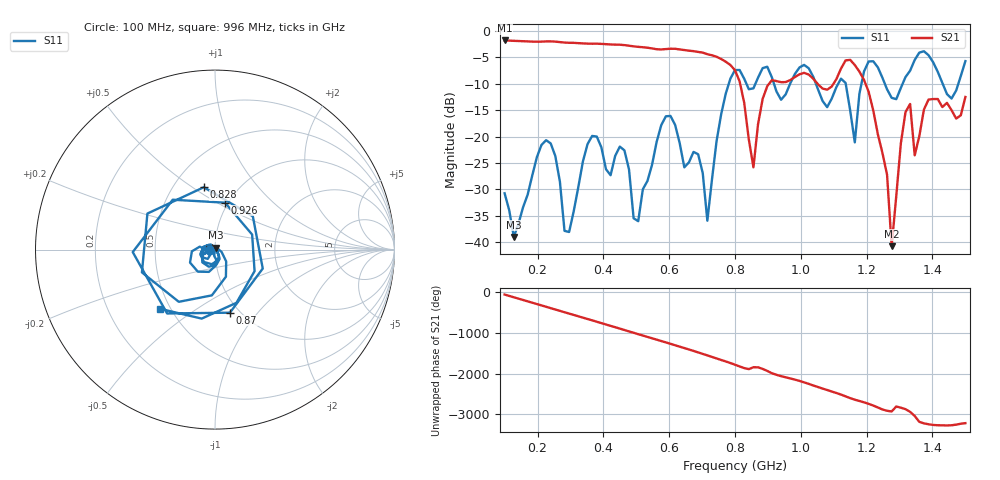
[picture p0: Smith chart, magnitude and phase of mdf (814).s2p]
! NanoVNA-App
! Date: 2025-09-25 15:44:45
! Start: 100MHz Stop: 1,5GHz Points: 101
! S-Parameter data: F S11 S21 S12 S22
# Hz S RI R 50
!  Frequency  S11_Real  S11_Imag  S21_Real  S21_Imag  S12_Real  S12_Imag  S22_Real  S22_Imag
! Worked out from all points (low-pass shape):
!   101 points, 100 MHz to 1.5 GHz, reference 50 ohm
!   highest |S21| = -1.80 dB at 100 MHz (marker M1); lowest = -40.7 dB at 1.276 GHz (marker M2)
!   |S21| within 3 dB of the highest: start of sweep to 739.5 MHz
!   lowest |S11| = -39.0 dB at 128 MHz (marker M3), VSWR 1.02, Z = 50.3 + j1.08 ohm
!   |S11| at or under -10 dB: start of sweep to 781.1 MHz; 1.046 GHz to 1.114 GHz (67.76 MHz wide, 6.28 % of centre); 1.255 GHz to 1.309 GHz (54.07 MHz wide, 4.22 % of centre) (the widest 3 of 7)
!   S12 and S22 are empty: the file has one direction only
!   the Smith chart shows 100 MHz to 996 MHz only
!   S11 on the Smith chart (normalised r, x): 100 MHz: 0.94, -0.01; 828 MHz: 0.70, +0.56; 870 MHz: 0.90, -0.73; 926 MHz: 0.97, +0.55; 996 MHz: 0.44, -0.36
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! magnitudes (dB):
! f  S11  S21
! 100 MHz  -30.7  -1.8
! 128 MHz  -39.0  -1.9
! 212 MHz  -21.6  -2.0
! 282 MHz  -37.8  -2.2
! 338 MHz  -24.7  -2.4
! 464 MHz  -22.6  -2.7
! 506 MHz  -36.0  -3.0
! 576 MHz  -17.8  -3.5
! 688 MHz  -23.3  -4.0
! 716 MHz  -35.9  -4.4
! 800 MHz  -7.4  -7.4
! 828 MHz  -9.0  -13.6
! 856 MHz  -10.9  -25.8
! 870 MHz  -8.8  -17.7
! 926 MHz  -11.5  -9.5
! 996 MHz  -6.9  -8.2
! 1.038 GHz  -8.7  -9.1
! 1.164 GHz  -21.1  -6.5
! 1.192 GHz  -7.7  -9.3
! 1.276 GHz  -12.7  -40.7
! 1.318 GHz  -8.7  -15.4
! 1.5 GHz  -5.7  -12.5
